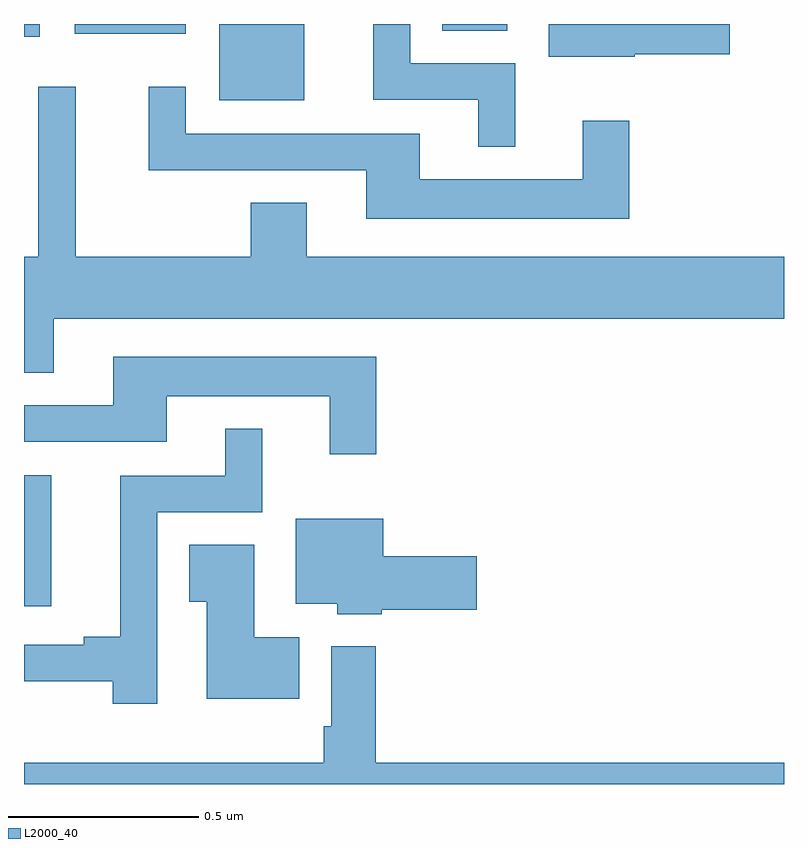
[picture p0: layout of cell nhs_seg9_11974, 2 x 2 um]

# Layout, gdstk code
import gdstk
lib = gdstk.Library(unit=1e-6, precision=1e-09)
def R(c, l, rs):  # rectangles x0, y0, x1, y1
    for r in rs: c.add(gdstk.rectangle(r[:2], r[2:], *l))
def P(c, l, *ps):  # polygons
    for p in ps: c.add(gdstk.Polygon(p, *l))
L2000_40 = (2000, 40)

nhs_seg9_11974 = lib.new_cell('nhs_seg9_11974')
R(nhs_seg9_11974, L2000_40, [(262,1224.968,262.072,1225.312), (262.514,1226.3,262.738,1226.5), (262,1226.466,262.041,1226.5), (262.133,1226.474,262.426,1226.5), (263.101,1226.482,263.272,1226.5)])
P(nhs_seg9_11974, L2000_40, [(263.607,1226.42),(263.857,1226.42),(263.857,1226.5),(263.381,1226.5),(263.381,1226.414),(263.607,1226.414)],
  [(263.293,1226.397),(263.016,1226.397),(263.016,1226.5),(262.919,1226.5),(262.919,1226.301),(263.195,1226.301),(263.195,1226.177),(263.293,1226.177)],
  [(263.593,1226.245),(263.471,1226.245),(263.471,1226.092),(263.041,1226.092),(263.041,1226.211),(262.425,1226.211),(262.425,1226.335),(262.328,1226.335),(262.328,1226.115),(262.901,1226.115),(262.901,1225.988),(263.593,1225.988)],
  [(262.078,1225.724),(264,1225.724),(264,1225.888),(262.744,1225.888),(262.744,1226.03),(262.597,1226.03),(262.597,1225.888),(262.136,1225.888),(262.136,1226.335),(262.037,1226.335),(262.037,1225.888),(262,1225.888),(262,1225.582),(262.078,1225.582)],
  [(262.927,1225.624),(262.235,1225.624),(262.235,1225.497),(262,1225.497),(262,1225.401),(262.375,1225.401),(262.375,1225.52),(262.805,1225.52),(262.805,1225.368),(262.927,1225.368)],
  [(262.35,1225.215),(262.627,1225.215),(262.627,1225.435),(262.529,1225.435),(262.529,1225.311),(262.253,1225.311),(262.253,1224.887),(262.157,1224.887),(262.157,1224.867),(262,1224.867),(262,1224.77),(262.234,1224.77),(262.234,1224.711),(262.35,1224.711)],
  [(262.941,1224.958),(263.191,1224.958),(263.191,1225.1),(262.945,1225.1),(262.945,1225.198),(262.715,1225.198),(262.715,1224.974),(262.824,1224.974),(262.824,1224.947),(262.941,1224.947)],
  [(262.724,1224.886),(262.606,1224.886),(262.606,1225.13),(262.435,1225.13),(262.435,1224.979),(262.481,1224.979),(262.481,1224.725),(262.724,1224.725)],
  [(264,1224.556),(262.925,1224.556),(262.925,1224.862),(262.809,1224.862),(262.809,1224.652),(262.789,1224.652),(262.789,1224.556),(262,1224.556),(262,1224.5),(264,1224.5)])

lib.write_gds('nhs_seg9_11974.gds')
